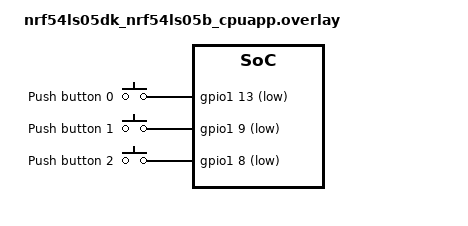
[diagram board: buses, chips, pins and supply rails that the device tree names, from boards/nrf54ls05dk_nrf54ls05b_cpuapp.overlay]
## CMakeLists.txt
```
#
# Copyright (c) 2026 Nordic Semiconductor ASA
#
# SPDX-License-Identifier: LicenseRef-Nordic-5-Clause
#

cmake_minimum_required(VERSION 3.20.0)

find_package(Zephyr REQUIRED HINTS $ENV{ZEPHYR_BASE})
project(gpio_port_latch_demo)

target_sources(app PRIVATE src/main.c)
```

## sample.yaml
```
sample:
  description: Demonstrate GPIO PORT/LATCH callbacks on shared port
  name: GPIO port latch demo

tests:
  sample.peripheral.gpio_port_latch_demo:
    build_only: true
    integration_platforms:
      - nrf54ls05dk/nrf54ls05b/cpuapp
      - nrf54l15dk/nrf54l15/cpuapp
    platform_allow:
      - nrf54ls05dk/nrf54ls05a/cpuapp
      - nrf54ls05dk/nrf54ls05b/cpuapp
      - nrf54l15dk/nrf54l05/cpuapp
      - nrf54l15dk/nrf54l10/cpuapp
      - nrf54l15dk/nrf54l15/cpuapp
    tags:
      - ci_build
      - sysbuild
```

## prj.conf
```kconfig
#
# Copyright (c) 2026 Nordic Semiconductor ASA
#
# SPDX-License-Identifier: LicenseRef-Nordic-5-Clause
#

CONFIG_GPIO=y

CONFIG_BOOT_BANNER=n
CONFIG_NCS_BOOT_BANNER=n

CONFIG_LOG=n
CONFIG_CONSOLE=n
CONFIG_UART_CONSOLE=n
CONFIG_SERIAL=n
CONFIG_PRINTK=n

CONFIG_MAIN_STACK_SIZE=840
CONFIG_ISR_STACK_SIZE=1536
CONFIG_SYSTEM_CLOCK_NO_WAIT=y

CONFIG_HW_STACK_PROTECTION=n

CONFIG_SIZE_OPTIMIZATIONS=y
```

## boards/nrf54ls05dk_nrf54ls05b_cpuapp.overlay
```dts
/*
 * Copyright (c) 2026 Nordic Semiconductor ASA
 *
 * SPDX-License-Identifier: LicenseRef-Nordic-5-Clause
 */

#include <zephyr/dt-bindings/input/input-event-codes.h>

/ {
	buttons {
		compatible = "gpio-keys";

		button0: button_0 {
			gpios = <&gpio1 13 (GPIO_PULL_UP | GPIO_ACTIVE_LOW)>;
			label = "Push button 0";
			zephyr,code = <INPUT_KEY_0>;
		};

		button1: button_1 {
			gpios = <&gpio1 9 (GPIO_PULL_UP | GPIO_ACTIVE_LOW)>;
			label = "Push button 1";
			zephyr,code = <INPUT_KEY_1>;
		};

		button2: button_2 {
			gpios = <&gpio1 8 (GPIO_PULL_UP | GPIO_ACTIVE_LOW)>;
			label = "Push button 2";
			zephyr,code = <INPUT_KEY_2>;
		};
	};

	aliases {
		sw0 = &button0;
		sw1 = &button1;
		sw2 = &button2;
	};
};
```

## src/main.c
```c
/*
 * Copyright (c) 2026 Nordic Semiconductor ASA
 *
 * SPDX-License-Identifier: LicenseRef-Nordic-5-Clause
 */

#include <zephyr/device.h>
#include <zephyr/devicetree.h>
#include <zephyr/drivers/gpio.h>
#include <zephyr/kernel.h>
#include <zephyr/sys/atomic.h>

#if !DT_NODE_EXISTS(DT_ALIAS(sw0)) || !DT_NODE_EXISTS(DT_ALIAS(sw1)) || \
	!DT_NODE_EXISTS(DT_ALIAS(sw2))
#error "Board must define sw0, sw1 and sw2 aliases (buttons 0-2 on DK)"
#endif

#define NUM_BUTTONS 3
#define ISR_LOG_SIZE 8

static const struct gpio_dt_spec buttons[NUM_BUTTONS] = {
	GPIO_DT_SPEC_GET(DT_ALIAS(sw0), gpios),
	GPIO_DT_SPEC_GET(DT_ALIAS(sw1), gpios),
	GPIO_DT_SPEC_GET(DT_ALIAS(sw2), gpios),
};

BUILD_ASSERT(DT_SAME_NODE(DT_GPIO_CTLR(DT_ALIAS(sw0), gpios),
			  DT_GPIO_CTLR(DT_ALIAS(sw1), gpios)));
BUILD_ASSERT(DT_SAME_NODE(DT_GPIO_CTLR(DT_ALIAS(sw0), gpios),
			  DT_GPIO_CTLR(DT_ALIAS(sw2), gpios)));

/* Debugger-visible state updated from the GPIO callback. */
atomic_t isr_count;
volatile uint32_t isr_pins_log[ISR_LOG_SIZE];
volatile uint8_t isr_log_idx;

static struct gpio_callback gpio_cb;

static void gpio_isr(const struct device *port, struct gpio_callback *cb, uint32_t pins)
{
	ARG_UNUSED(port);
	ARG_UNUSED(cb);

	if (isr_log_idx >= ISR_LOG_SIZE) {
		return;
	}

	atomic_inc(&isr_count);
	isr_pins_log[isr_log_idx] = pins;
	isr_log_idx++;

	for (size_t i = 0; i < NUM_BUTTONS; i++) {
		if (!(pins & BIT(buttons[i].pin))) {
			continue;
		}

		gpio_pin_interrupt_configure_dt(&buttons[i], GPIO_INT_DISABLE);
	}

}

int main(void)
{
	uint32_t pin_mask = 0;
	int err;

	for (size_t i = 0; i < NUM_BUTTONS; i++) {
		if (!gpio_is_ready_dt(&buttons[i])) {
			return -ENODEV;
		}

		err = gpio_pin_configure_dt(&buttons[i], GPIO_INPUT);
		if (err != 0) {
			return err;
		}

		pin_mask |= BIT(buttons[i].pin);
	}

	gpio_init_callback(&gpio_cb, gpio_isr, pin_mask);
	err = gpio_add_callback(buttons[0].port, &gpio_cb);
	if (err != 0) {
		return err;
	}

	for (size_t i = 0; i < NUM_BUTTONS; i++) {
		err = gpio_pin_interrupt_configure_dt(&buttons[i], GPIO_INT_LEVEL_LOW);
		if (err != 0) {
			return err;
		}
	}

	while (true) {
		k_sleep(K_FOREVER);
	}

	return 0;
}
```
